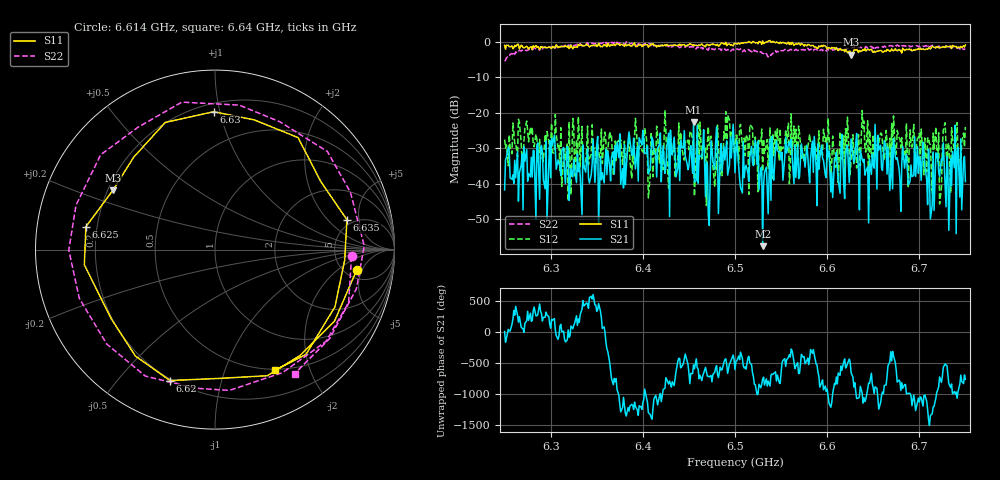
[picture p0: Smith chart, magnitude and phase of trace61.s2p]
# Hz S RI R 50
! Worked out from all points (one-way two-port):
!   401 points, 6.25 GHz to 6.75 GHz, reference 50 ohm
!   highest |S21| = -22.67 dB at 6.455 GHz (marker M1); lowest = -57.6 dB at 6.53 GHz (marker M2)
!   lowest |S11| = -3.6 dB at 6.626 GHz (marker M3), VSWR 4.85, Z = 11 + j12.9 ohm
!   |S11| at or under -10 dB: nowhere
!   |S22| runs from -5.5 to 0.1 dB; largest |S21 - S12| = 0.13
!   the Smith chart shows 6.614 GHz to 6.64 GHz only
!   S11 on the Smith chart (normalised r, x): 6.614 GHz: 6.28, -3.99; 6.62 GHz: 0.19, -0.70; 6.625 GHz: 0.16, +0.09; 6.63 GHz: 0.26, +0.96; 6.635 GHz: 4.41, +3.40; 6.64 GHz: 0.49, -1.50
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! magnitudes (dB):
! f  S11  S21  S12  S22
! 6.25 GHz  -1.0  -41.8  -27.6  -5.5
! 6.334 GHz  -1.1  -48.7  -23.9  -1.2
! 6.418 GHz  -1.4  -28.9  -34.2  -1.2
! 6.455 GHz  -0.9  -22.7  -32.7  -1.4
! 6.464 GHz  -0.7  -32.5  -33.5  -1.6
! 6.47 GHz  -0.8  -34.8  -28.9  -2.2
! 6.476 GHz  -0.7  -33.7  -35.3  -2.2
! 6.5 GHz  -0.5  -36.9  -31.6  -2.5
! 6.53 GHz  0.2  -57.6  -36.6  -3.3
! 6.546 GHz  -0.3  -30.7  -24.6  -2.7
! 6.584 GHz  -1.1  -28.0  -29.1  -2.1
! 6.614 GHz  -2.0  -42.7  -25.3  -2.4
! 6.62 GHz  -2.3  -32.4  -24.5  -2.2
! 6.625 GHz  -2.7  -32.3  -37.4  -1.8
! 6.626 GHz  -3.6  -27.4  -33.1  -1.8
! 6.63 GHz  -2.3  -32.8  -31.5  -1.5
! 6.635 GHz  -2.5  -47.4  -30.5  -1.7
! 6.64 GHz  -2.5  -33.1  -22.4  -1.7
! 6.668 GHz  -2.7  -41.9  -27.2  -1.2
! 6.714 GHz  -1.3  -46.1  -42.7  -1.0
! 6.721 GHz  -1.8  -36.5  -25.7  -1.3
! 6.75 GHz  -1.0  -39.4  -24.0  -2.0
